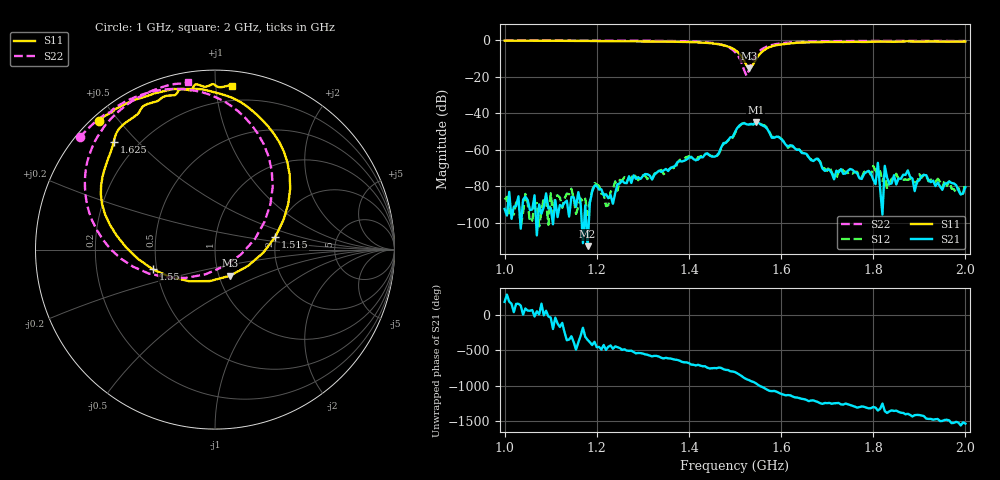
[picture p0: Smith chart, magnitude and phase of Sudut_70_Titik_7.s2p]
# Hz S RI R 50
! CMT, C1220, 16058040, 17.2.0/1
! Date: 14/08/2018 12:12:45
! Data: Format (Calibration Info)
! Freq  S11: Re/Im (F2)  S21: Re/Im (F2)  S12: Re/Im (F2)  S22: Re/Im (F2)
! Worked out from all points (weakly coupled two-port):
!   201 points, 1 GHz to 2 GHz, reference 50 ohm
!   highest |S21| = -44.97 dB at 1.545 GHz (marker M1); lowest = -112.9 dB at 1.18 GHz (marker M2)
!   lowest |S11| = -15.5 dB at 1.53 GHz (marker M3), VSWR 1.40, Z = 56.3 - j16.9 ohm
!   |S11| at or under -10 dB: 1.517 GHz to 1.547 GHz (30.09 MHz wide, 1.96 % of centre)
!   |S22| runs from -19.5 to -0.2 dB; largest |S21 - S12| = 0.00036
!   S11 on the Smith chart (normalised r, x): 1 GHz: 0.02, +0.44; 1.515 GHz: 1.98, +0.32; 1.55 GHz: 0.48, -0.12; 1.625 GHz: 0.11, +0.43; 2 GHz: 0.10, +1.11
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1e9  -0.6464 0.7146  -2.38e-05 8.42e-07  -3.79e-05 -1.94e-05  -0.7535 0.6251
1.17e9  -0.4763 0.8223  -2.73e-06 2.73e-07  3.44e-05 1.37e-05  -0.6165 0.7508
1.18e9  -0.4596 0.8293  2.26e-06 2.24e-07  -8.61e-06 -1.38e-05  -0.6052 0.757
1.335e9  -0.2169 0.8943  -0.000168 0.000205  -0.000145 0.000209  -0.4002 0.8656
1.46e9  0.232 0.7526  0.000562 -0.000375  0.000537 -0.000379  0.094 0.7981
1.5e9  0.4189 0.3411  0.000118 -0.00302  8.69e-05 -0.0028  0.3213 0.3487
1.515e9  0.3358 0.0711  -0.00424 -0.00285  -0.00415 -0.00303  0.2218 0.0583
1.53e9  0.0828 -0.146  -0.00456 0.00163  -0.00468 0.00162  -0.0534 -0.138
1.545e9  -0.2493 -0.1529  -0.00247 0.00507  -0.00256 0.005  -0.3686 -0.1334
1.55e9  -0.3466 -0.1096  -0.000263 0.00555  -0.00054 0.00558  -0.454 -0.0964
1.625e9  -0.564 0.6013  0.000409 -0.00122  0.000425 -0.00114  -0.7022 0.5198
1.67e9  -0.4433 0.745  -0.000284 -0.000399  -0.000381 -0.000459  -0.6259 0.6728
1.72e9  -0.3469 0.8196  -0.000255 -7.43e-05  -0.000158 -5.03e-05  -0.5426 0.7651
1.805e9  -0.2 0.8898  -7.7e-05 8.29e-05  -0.000222 0.000154  -0.4166 0.8534
1.81e9  -0.1929 0.894  -1.74e-05 0.000435  0.000163 0.000122  -0.4098 0.8575
1.815e9  -0.1842 0.8956  -3.74e-05 7.93e-05  3.61e-05 0.000254  -0.4029 0.8609
1.825e9  -0.1628 0.8929  3.3e-05 0.000358  -5.45e-05 0.000197  -0.3893 0.8673
1.835e9  -0.1417 0.8873  1.97e-05 0.000112  1.52e-05 0.000125  -0.3761 0.8739
1.875e9  -0.103 0.9207  0.000187 0.000194  0.000122 8.45e-05  -0.32 0.8965
1.89e9  -0.0744 0.9116  6.51e-05 3.32e-05  0.000111 6.91e-05  -0.2982 0.9041
1.91e9  -0.0358 0.9122  0.000195 4.9e-05  0.000208 -1.83e-05  -0.2716 0.9126
2e9  0.0972 0.9116  -3.17e-06 -9.34e-05  -2.62e-05 -0.000123  -0.1523 0.9332
